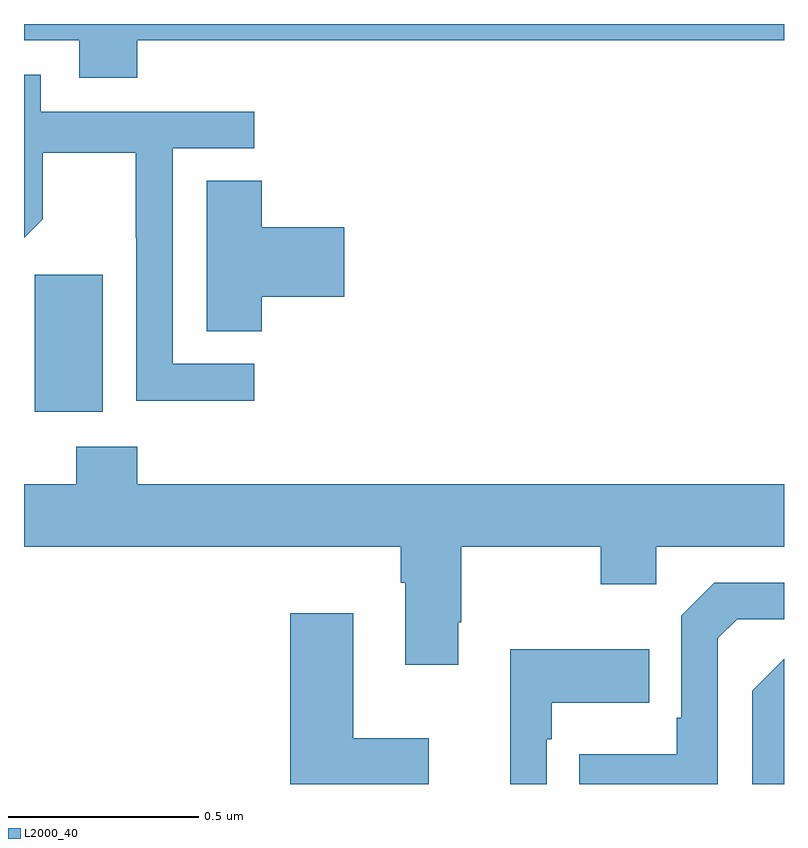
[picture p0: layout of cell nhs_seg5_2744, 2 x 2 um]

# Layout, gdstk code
import gdstk
lib = gdstk.Library(unit=1e-6, precision=1e-09)
def R(c, l, rs):  # rectangles x0, y0, x1, y1
    for r in rs: c.add(gdstk.rectangle(r[:2], r[2:], *l))
def P(c, l, *ps):  # polygons
    for p in ps: c.add(gdstk.Polygon(p, *l))
L2000_40 = (2000, 40)

nhs_seg5_2744 = lib.new_cell('nhs_seg5_2744')
R(nhs_seg5_2744, L2000_40, [(148.028,859.778,148.207,860.139)])
P(nhs_seg5_2744, L2000_40, [(148.298,860.756),(150,860.756),(150,860.799),(148,860.799),(148,860.756),(148.145,860.756),(148.145,860.657),(148.298,860.657)],
  [(148.606,859.905),(148.392,859.905),(148.392,860.472),(148.606,860.472),(148.606,860.568),(148.044,860.568),(148.044,860.665),(148,860.665),(148,860.236),(148.049,860.285),(148.049,860.46),(148.294,860.46),(148.294,860.236),(148.296,860.236),(148.296,859.807),(148.606,859.807)],
  [(148.625,860.081),(148.843,860.081),(148.843,860.264),(148.625,860.264),(148.625,860.387),(148.481,860.387),(148.481,859.99),(148.625,859.99)],
  [(149.143,859.225),(149.151,859.225),(149.151,859.424),(149.518,859.424),(149.518,859.325),(149.664,859.325),(149.664,859.424),(150,859.424),(150,859.588),(148.298,859.588),(148.298,859.687),(148.138,859.687),(148.138,859.588),(148,859.588),(148,859.424),(148.991,859.424),(148.991,859.328),(149.003,859.328),(149.003,859.113),(149.143,859.113)],
  [(149.826,859.182),(149.877,859.233),(150,859.233),(150,859.329),(149.817,859.329),(149.73,859.242),(149.73,858.973),(149.718,858.973),(149.718,858.877),(149.461,858.877),(149.461,858.799),(149.826,858.799)],
  [(149.065,858.919),(148.867,858.919),(148.867,859.249),(148.7,859.249),(148.7,858.799),(149.065,858.799)],
  [(149.376,858.917),(149.389,858.917),(149.389,859.013),(149.645,859.013),(149.645,859.153),(149.279,859.153),(149.279,858.799),(149.376,858.799)],
  [(150,859.128),(149.916,859.044),(149.916,858.799),(150,858.799)])

lib.write_gds('nhs_seg5_2744.gds')
